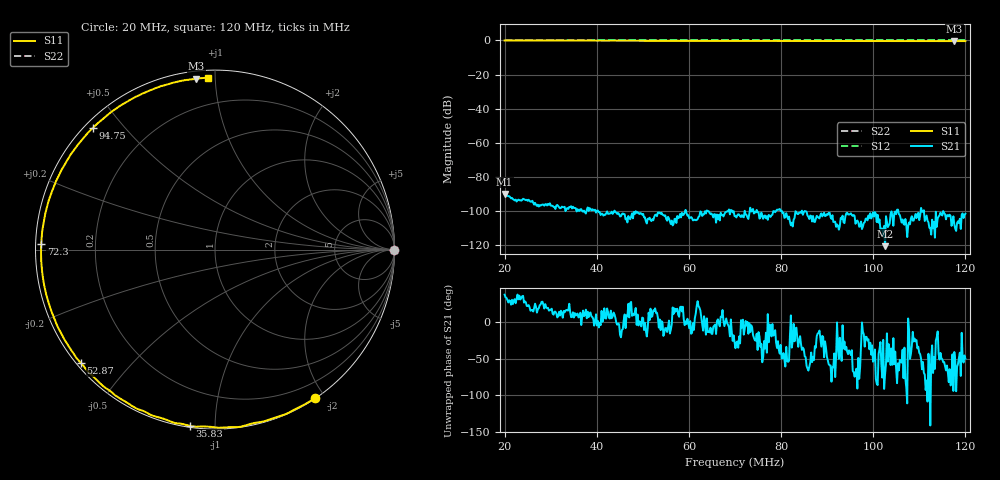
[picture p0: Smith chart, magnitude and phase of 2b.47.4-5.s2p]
! Anritsu VNA Master:  Model: MS2036C/10/77
! SN:  1601066
! /card0/usr/18may27.balun/252b.47.3.s2p
! Existing Calibration Information:
! TYPE:  Current Settings,  Active Cal Settings
! TIME:  05/27/2018 12:56:17 PM,  05/27/2018 12:49:51 PM
! INTERNAL TEMP:  52.3 C,  52.5 C
! # POINTS:  500,  500
! START FREQ:  20.000 MHz,  20.000 MHz
! STOP FREQ:  120.000 MHz,  120.000 MHz
! SOURCE POWER:  High,  High
! IFBW:  50 Hz,  50 Hz
! AVG FACTOR:  1 ,  1
! REF PLANE 1:  0 mm,  0 mm
! REF PLANE 2:  0 mm,  0 mm
! CAL TYPE:  Full S11,  Full S11
! CAL METHOD:  SOLT,  SOLT
! CAL LINE TYPE:  Coax,  Coax
! DUT PORT 1:  K-Conn(M),  K-Conn(M)
! DUT PORT 2:  K-Conn(M),  K-Conn(M)
! CAL STATUS:  OK: Accuracy High,  --
# GHZ S DB R 50.0
! FREQ.GHZ  S11DB  S11A  S21DB  S21A  S12DB  S12A  S22DB  S22A
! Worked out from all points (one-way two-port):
!   500 points, 20 MHz to 120 MHz, reference 50 ohm
!   highest |S21| = -89.88 dB at 20 MHz (marker M1); lowest = -120.4 dB at 102.6 MHz (marker M2)
!   lowest |S11| = -0.4 dB at 117.6 MHz (marker M3), VSWR 45.67, Z = 1.98 + j44.8 ohm
!   |S11| at or under -10 dB: nowhere
!   |S22| runs from 0.0 to 0.0 dB; largest |S21 - S12| = 1
!   S11 on the Smith chart (normalised r, x): 20 MHz: 0.01, -1.87; 35.83 MHz: 0.01, -0.87; 52.87 MHz: 0.01, -0.37; 72.3 MHz: 0.02, +0.02; 94.75 MHz: 0.02, +0.41; 120 MHz: 0.04, +0.96
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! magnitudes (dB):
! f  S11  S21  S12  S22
! 20 MHz  0.0  -89.9  0.0  0.0
! 23.81 MHz  0.0  -93.4  0.0  0.0
! 27.82 MHz  -0.1  -96.7  0.0  0.0
! 29.62 MHz  0.0  -96.2  0.0  0.0
! 33.63 MHz  -0.1  -98.1  0.0  0.0
! 35.03 MHz  -0.1  -98.0  0.0  0.0
! 35.83 MHz  -0.1  -98.8  0.0  0.0
! 36.83 MHz  -0.1  -99.8  0.0  0.0
! 37.84 MHz  -0.1  -99.2  0.0  0.0
! 39.44 MHz  -0.1  -99.4  0.0  0.0
! 42.04 MHz  -0.1  -101.3  0.0  0.0
! 43.05 MHz  -0.1  -101.1  0.0  0.0
! 52.87 MHz  -0.2  -102.0  0.0  0.0
! 53.47 MHz  -0.2  -100.9  0.0  0.0
! 70.1 MHz  -0.3  -103.0  0.0  0.0
! 72.3 MHz  -0.3  -101.9  0.0  0.0
! 86.73 MHz  -0.3  -106.0  0.0  0.0
! 94.75 MHz  -0.3  -101.9  0.0  0.0
! 102.6 MHz  -0.4  -120.4  0.0  0.0
! 103.4 MHz  -0.4  -108.3  0.0  0.0
! 117.6 MHz  -0.4  -107.7  0.0  0.0
! 120 MHz  -0.4  -101.5  0.0  0.0
